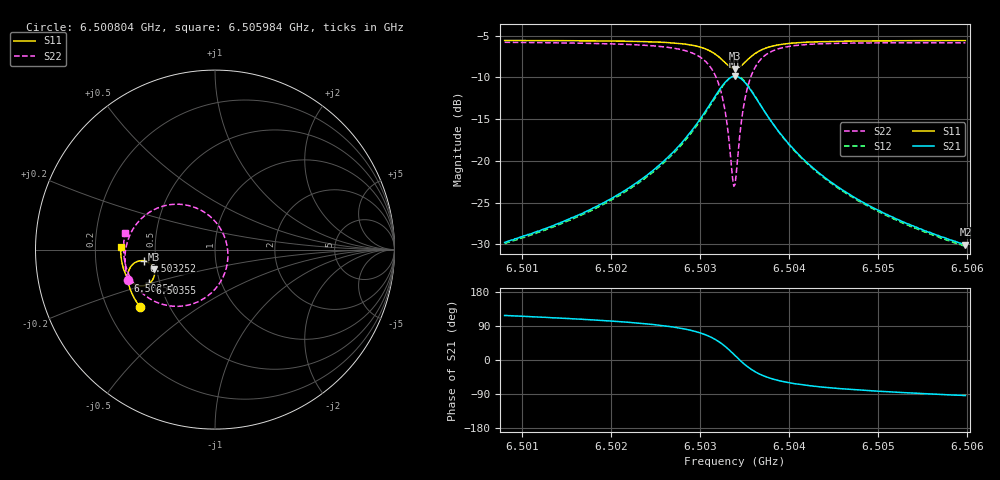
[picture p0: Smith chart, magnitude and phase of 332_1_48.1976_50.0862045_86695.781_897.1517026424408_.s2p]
#  HZ  S  RI  R  50.00
! Rohde & Schwarz Vector Network Analyzer
! Rohde-Schwarz,ZNB20-2Port,1311601062101988,3.16
! Created: UTC 3/20/2024, 11:50:55 AM
! freq[Hz]  re:S11  im:S11  re:S21  im:S21  re:S12  im:S12  re:S22  im:S22
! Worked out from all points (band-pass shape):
!   401 points, 6.500804 GHz to 6.505984 GHz, reference 50 ohm
!   highest |S21| = -9.86 dB at 6.503394 GHz (marker M1); lowest = -30.0 dB at 6.505984 GHz (marker M2)
!   |S21| within 3 dB of the highest: 6.503134 GHz to 6.503653 GHz (518.7 kHz wide, 0.00798 % of centre)
!   lowest |S11| = -8.9 dB at 6.503394 GHz (marker M3), VSWR 2.11, Z = 24.1 - j6.11 ohm
!   |S11| at or under -10 dB: nowhere
!   |S22| runs from -23.1 to -5.8 dB; largest |S21 - S12| = 0.011
!   S11 on the Smith chart (normalised r, x): 6.500804 GHz: 0.34, -0.30; 6.50254 GHz: 0.33, -0.15; 6.503252 GHz: 0.43, -0.06; 6.50355 GHz: 0.44, -0.20; 6.505984 GHz: 0.31, +0.01
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6.5008042e9  -0.4195 -0.3183  -0.0149 0.0288  -0.0134 0.0291  -0.4855 -0.1672
6.5016719e9  -0.4579 -0.2553  -0.0145 0.0461  -0.0122 0.0459  -0.5012 -0.0773
6.502151e9  -0.4753 -0.2137  -0.0119 0.0652  -0.00881 0.0641  -0.4994 -0.0113
6.5025395e9  -0.4851 -0.1718  -0.00323 0.0939  0.000308 0.0917  -0.4815 0.0636
6.5028374e9  -0.4835 -0.1286  0.0204 0.1348  0.024 0.1307  -0.4322 0.149
6.5030316e9  -0.4665 -0.0913  0.0665 0.1753  0.0693 0.1694  -0.343 0.2211
6.5031611e9  -0.4351 -0.067  0.1347 0.1978  0.1359 0.1915  -0.2188 0.2528
6.5032518e9  -0.3974 -0.062  0.21 0.1879  0.2105 0.1824  -0.0883 0.2245
6.5033036e9  -0.3723 -0.0705  0.2575 0.1602  0.2585 0.1557  -0.00937 0.168
6.5033683e9  -0.3463 -0.0964  0.3045 0.098  0.3069 0.0929  0.0608 0.0481
6.5033942e9  -0.3401 -0.1106  0.3144 0.0665  0.3173 0.0605  0.0715 -0.0105
6.5034072e9  -0.3381 -0.1182  0.3171 0.0501  0.3201 0.0436  0.0721 -0.0403
6.503459e9  -0.339 -0.1485  0.3116 -0.0142  0.3142 -0.0229  0.0442 -0.1544
6.5034849e9  -0.3441 -0.162  0.3004 -0.0429  0.3022 -0.0523  0.0155 -0.2021
6.5035496e9  -0.3649 -0.1872  0.2586 -0.0955  0.2573 -0.1064  -0.0788 -0.2825
6.5036532e9  -0.4034 -0.2018  0.1859 -0.131  0.1806 -0.1401  -0.2247 -0.3158
6.5038216e9  -0.4487 -0.192  0.1062 -0.1282  0.0993 -0.1331  -0.3683 -0.2706
6.5040029e9  -0.4757 -0.1707  0.0628 -0.109  0.0567 -0.1111  -0.4389 -0.207
6.5042619e9  -0.4963 -0.1406  0.0333 -0.0853  0.0286 -0.0859  -0.4815 -0.136
6.5046504e9  -0.5117 -0.1009  0.0146 -0.0629  0.0115 -0.0625  -0.5037 -0.0619
6.5051296e9  -0.5211 -0.057  0.00489 -0.0466  0.00272 -0.046  -0.5097 0.00368
6.5059843e9  -0.5258 0.0148  -0.00215 -0.0315  -0.00337 -0.0306  -0.5013 0.0924
